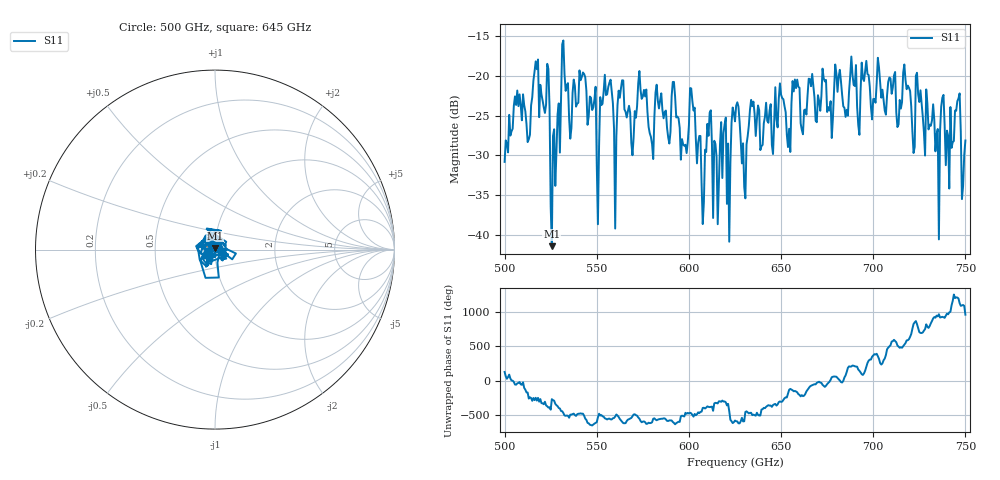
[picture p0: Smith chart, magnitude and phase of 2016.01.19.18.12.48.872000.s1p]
!Created with skrf (http://scikit-rf.org).
# GHz S RI R 50.0
!freq ReS11 ImS11
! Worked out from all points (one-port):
!   401 points, 500 GHz to 750 GHz, reference 50 ohm
!   lowest |S11| = -41.4 dB at 525.6 GHz (marker M1), VSWR 1.02, Z = 50 + j0.854 ohm
!   |S11| at or under -10 dB: start of sweep to end of sweep
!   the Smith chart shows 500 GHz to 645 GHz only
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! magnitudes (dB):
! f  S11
! 500 GHz  -30.8
! 506.9 GHz  -21.9
! 513.1 GHz  -28.0
! 516.9 GHz  -18.2
! 523.1 GHz  -18.5
! 525.6 GHz  -41.4
! 531.2 GHz  -16.1
! 542.5 GHz  -19.6
! 551.2 GHz  -28.8
! 553.1 GHz  -23.5
! 560 GHz  -39.2
! 562.5 GHz  -22.8
! 593.8 GHz  -25.1
! 598.1 GHz  -28.7
! 601.9 GHz  -23.2
! 608.1 GHz  -35.8
! 611.2 GHz  -24.6
! 614.4 GHz  -28.6
! 621.9 GHz  -40.8
! 625 GHz  -25.7
! 630 GHz  -33.9
! 634.4 GHz  -23.8
! 656.2 GHz  -20.7
! 687.5 GHz  -20.0
! 718.8 GHz  -21.3
! 735 GHz  -26.7
! 745.6 GHz  -23.2
! 750 GHz  -28.1
